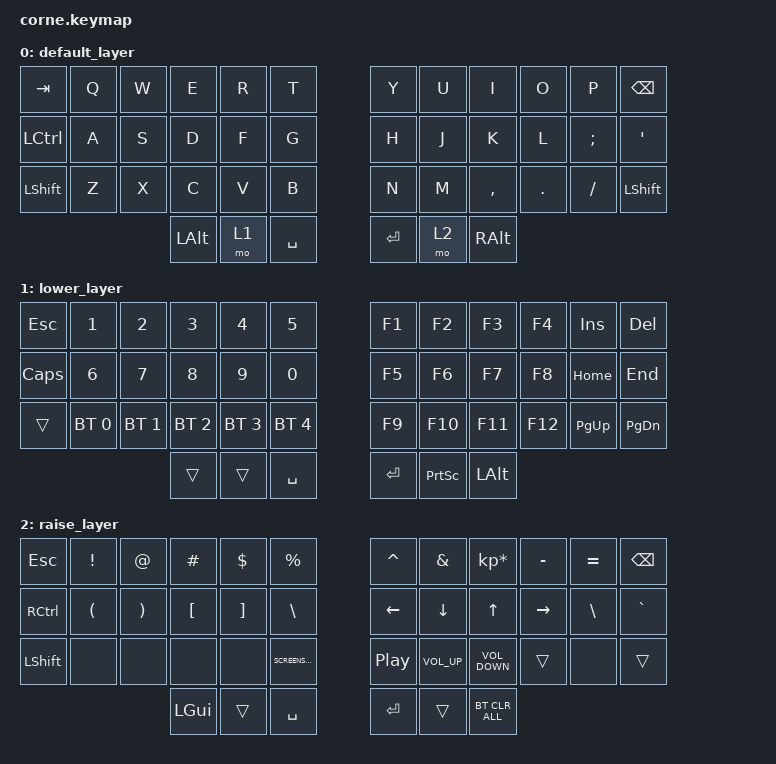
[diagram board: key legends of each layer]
/*
 * Copyright (c) 2020 The ZMK Contributors
 *
 * SPDX-License-Identifier: MIT
 */

#include <behaviors.dtsi>
#include <dt-bindings/zmk/bt.h>
#include <dt-bindings/zmk/keys.h>

/ {
    keymap {
        compatible = "zmk,keymap";

        default_layer {
            // -----------------------------------------------------------------------------------------
            // |  TAB |  Q  |  W  |  E  |  R  |  T  |   |  Y  |  U   |  I  |  O  |  P  | BKSP |
            // | CTRL |  A  |  S  |  D  |  F  |  G  |   |  H  |  J   |  K  |  L  |  ;  |  '   |
            // | SHFT |  Z  |  X  |  C  |  V  |  B  |   |  N  |  M   |  ,  |  .  |  /  | ESC  |
            //                    | GUI | LWR | SPC |   | ENT | RSE  | ALT |

            bindings = <
&kp TAB         &kp Q  &kp W  &kp E     &kp R  &kp T        &kp Y    &kp U  &kp I      &kp O    &kp P     &kp BSPC
&kp LCTRL       &kp A  &kp S  &kp D     &kp F  &kp G        &kp H    &kp J  &kp K      &kp L    &kp SEMI  &kp SQT
&kp LEFT_SHIFT  &kp Z  &kp X  &kp C     &kp V  &kp B        &kp N    &kp M  &kp COMMA  &kp DOT  &kp FSLH  &kp LEFT_SHIFT
                              &kp LALT  &mo 1  &kp SPACE    &kp RET  &mo 2  &kp RALT
            >;
        };

        lower_layer {
            // -----------------------------------------------------------------------------------------
            // |  TAB |  1  |  2  |  3  |  4  |  5  |   |  6  |  7  |  8  |  9  |  0  | BKSP |
            // | BTCLR| BT1 | BT2 | BT3 | BT4 | BT5 |   | LFT | DWN |  UP | RGT |     |      |
            // | SHFT |     |     |     |     |     |   |     |     |     |     |     |      |
            //                    | GUI |     | SPC |   | ENT |     | ALT |

            bindings = <
&kp ESCAPE    &kp N1        &kp N2        &kp N3        &kp N4        &kp N5          &kp F1   &kp F2           &kp F3        &kp F4   &kp INS      &kp DEL
&kp CAPSLOCK  &kp N6        &kp N7        &kp N8        &kp N9        &kp N0          &kp F5   &kp F6           &kp F7        &kp F8   &kp HOME     &kp END
&trans        &bt BT_SEL 0  &bt BT_SEL 1  &bt BT_SEL 2  &bt BT_SEL 3  &bt BT_SEL 4    &kp F9   &kp F10          &kp F11       &kp F12  &kp PAGE_UP  &kp PAGE_DOWN
                                          &trans        &trans        &kp SPACE       &kp RET  &kp PRINTSCREEN  &kp LEFT_ALT
            >;
        };

        raise_layer {
            // -----------------------------------------------------------------------------------------
            // |  TAB |  !  |  @  |  #  |  $  |  %  |   |  ^  |  &  |  *  |  (  |  )  | BKSP |
            // | CTRL |     |     |     |     |     |   |  -  |  =  |  [  |  ]  |  \  |  `   |
            // | SHFT |     |     |     |     |     |   |  _  |  +  |  {  |  }  | "|" |  ~   |
            //                    | GUI |     | SPC |   | ENT |     | ALT |

            bindings = <
&kp ESCAPE      &kp EXCL              &kp AT                 &kp HASH          &kp DLLR           &kp PRCNT            &kp CARET         &kp AMPS         &kp KP_MULTIPLY    &kp MINUS  &kp EQUAL  &kp BSPC
&kp RCTRL       &kp LEFT_PARENTHESIS  &kp RIGHT_PARENTHESIS  &kp LEFT_BRACKET  &kp RIGHT_BRACKET  &kp BACKSLASH        &kp LEFT_ARROW    &kp DOWN_ARROW   &kp UP_ARROW       &kp RIGHT  &kp BSLH   &kp GRAVE
&kp LEFT_SHIFT  &none                 &none                  &none             &none              &kp K_SCREENSAVER    &kp C_PLAY_PAUSE  &kp C_VOLUME_UP  &kp C_VOLUME_DOWN  &trans     &none      &trans
                                                             &kp LGUI          &trans             &kp SPACE            &kp RET           &trans           &bt BT_CLR_ALL
            >;
        };
    };
};
